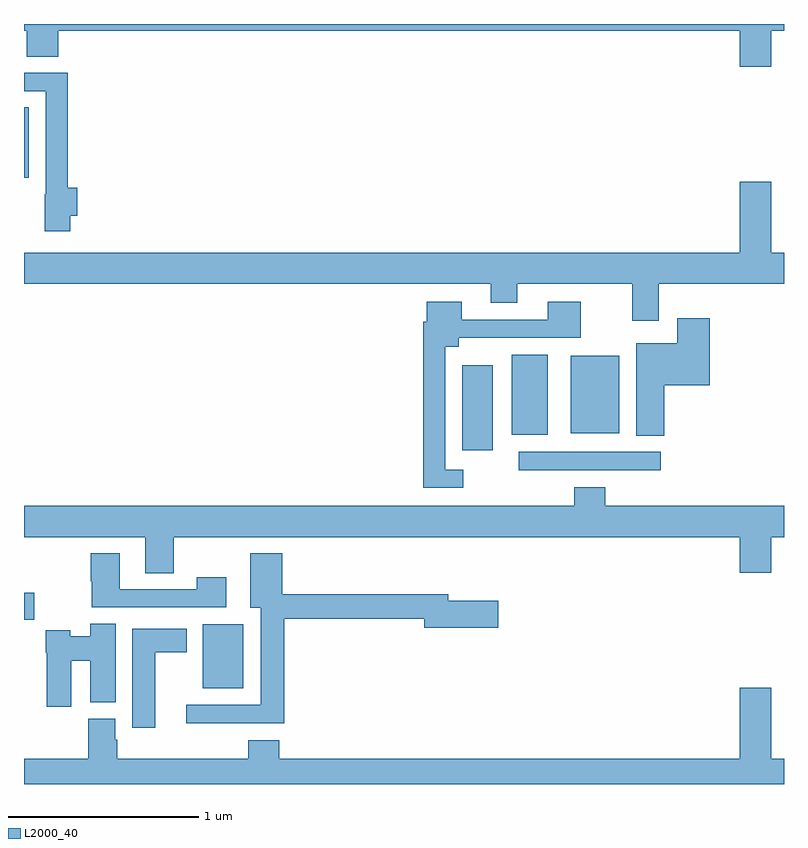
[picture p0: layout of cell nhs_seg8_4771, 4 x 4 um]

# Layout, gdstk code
import gdstk
lib = gdstk.Library(unit=1e-6, precision=1e-09)
def R(c, l, rs):  # rectangles x0, y0, x1, y1
    for r in rs: c.add(gdstk.rectangle(r[:2], r[2:], *l))
def P(c, l, *ps):  # polygons
    for p in ps: c.add(gdstk.Polygon(p, *l))
L2000_40 = (2000, 40)

nhs_seg8_4771 = lib.new_cell('nhs_seg8_4771')
R(nhs_seg8_4771, L2000_40, [(401.942,1082.405,402.154,1082.74), (401,1082.765,401.053,1082.907), (403.605,1083.552,404.35,1083.648), (403.307,1083.657,403.468,1084.105), (403.568,1083.737,403.756,1084.159), (403.877,1083.746,404.134,1084.153), (401,1085.091,401.026,1085.462)])
P(nhs_seg8_4771, L2000_40, [(404.932,1085.864),(405,1085.864),(405,1085.9),(401,1085.9),(401,1085.864),(401.015,1085.864),(401.015,1085.728),(401.18,1085.728),(401.18,1085.864),(404.768,1085.864),(404.768,1085.676),(404.932,1085.676)],
  [(401.244,1084.89),(401.279,1084.89),(401.279,1085.039),(401.231,1085.039),(401.231,1085.643),(401,1085.643),(401,1085.547),(401.115,1085.547),(401.115,1085.004),(401.108,1085.004),(401.108,1084.808),(401.244,1084.808)],
  [(404.341,1084.532),(405,1084.532),(405,1084.696),(404.932,1084.696),(404.932,1085.071),(404.768,1085.071),(404.768,1084.696),(401,1084.696),(401,1084.532),(403.457,1084.532),(403.457,1084.433),(403.597,1084.433),(403.597,1084.532),(404.201,1084.532),(404.201,1084.338),(404.341,1084.338)],
  [(403.312,1083.555),(403.218,1083.555),(403.218,1084.202),(403.288,1084.202),(403.288,1084.248),(403.93,1084.248),(403.93,1084.438),(403.757,1084.438),(403.757,1084.344),(403.303,1084.344),(403.303,1084.438),(403.121,1084.438),(403.121,1084.334),(403.102,1084.334),(403.102,1083.459),(403.312,1083.459)],
  [(404.369,1083.998),(404.609,1083.998),(404.609,1084.351),(404.438,1084.351),(404.438,1084.219),(404.222,1084.219),(404.222,1083.733),(404.369,1083.733)],
  [(401.787,1083.2),(404.768,1083.2),(404.768,1083.012),(404.932,1083.012),(404.932,1083.2),(405,1083.2),(405,1083.364),(404.06,1083.364),(404.06,1083.463),(403.895,1083.463),(403.895,1083.364),(401,1083.364),(401,1083.2),(401.639,1083.2),(401.639,1083.01),(401.787,1083.01)],
  [(402.371,1082.77),(403.106,1082.77),(403.106,1082.723),(403.495,1082.723),(403.495,1082.865),(403.234,1082.865),(403.234,1082.899),(402.358,1082.899),(402.358,1083.115),(402.191,1083.115),(402.191,1082.828),(402.245,1082.828),(402.245,1082.316),(401.853,1082.316),(401.853,1082.219),(402.371,1082.219)],
  [(402.064,1082.989),(401.908,1082.989),(401.908,1082.925),(401.503,1082.925),(401.503,1083.115),(401.351,1083.115),(401.351,1082.967),(401.356,1082.967),(401.356,1082.829),(402.064,1082.829)],
  [(401.248,1082.548),(401.348,1082.548),(401.348,1082.329),(401.482,1082.329),(401.482,1082.744),(401.348,1082.744),(401.348,1082.677),(401.244,1082.677),(401.244,1082.708),(401.114,1082.708),(401.114,1082.591),(401.119,1082.591),(401.119,1082.307),(401.248,1082.307)],
  [(401.692,1082.594),(401.857,1082.594),(401.857,1082.716),(401.57,1082.716),(401.57,1082.196),(401.692,1082.196)],
  [(405,1082.032),(404.932,1082.032),(404.932,1082.407),(404.768,1082.407),(404.768,1082.032),(402.344,1082.032),(402.344,1082.131),(402.179,1082.131),(402.179,1082.032),(401.492,1082.032),(401.492,1082.133),(401.479,1082.133),(401.479,1082.244),(401.339,1082.244),(401.339,1082.032),(401,1082.032),(401,1081.9),(405,1081.9)])

lib.write_gds('nhs_seg8_4771.gds')
